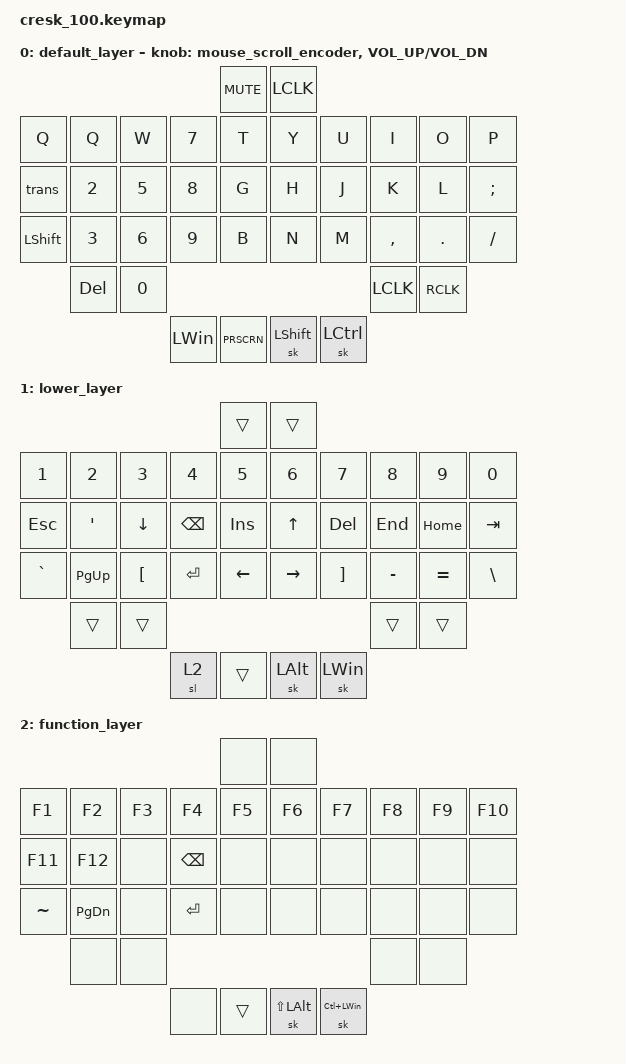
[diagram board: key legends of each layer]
/*
 * Copyright (c) 2022 The ZMK Contributors
 *
 * SPDX-License-Identifier: MIT
 */

#include <behaviors.dtsi>
#include <dt-bindings/zmk/keys.h>
#include <dt-bindings/zmk/mouse.h>

&sk {
	release-after-ms = <600>;
	quick-release;
};

&sl {
	release-after-ms = <600>;
};

/ {
	behaviors {
		mouse_scroll_encoder: mouse_scroll_encoder {
			compatible = "zmk,behavior-sensor-rotate";
			label = "MOUSE_SCROLL_ENCODER";
			#sensor-binding-cells = <0>;
			bindings = <&mwh SCROLL_DOWN>, <&mwh SCROLL_UP>;
		};
	};

	keymap {
		compatible = "zmk,keymap";

		default_layer {
			bindings = <
                                       &kp C_MUTE    &kp LCLK
&kp Q      &kp Q     &kp W    &kp 7    &kp T         &kp Y        &kp U        &kp I     &kp O     &kp P
&kp trans  &kp 2     &kp 5    &kp 8    &kp G         &kp H        &kp J        &kp K     &kp L     &kp SEMI
&kp LSHIFT     &kp 3     &kp 6    &kp 9    &kp B         &kp N        &kp M        &kp COMMA &kp DOT   &kp FSLH
           &kp DEL     &kp 0                                                     &kp LCLK &kp RCLK
                              &kp LWIN    &kp PRSCRN     &sk LSHIFT   &sk LCTRL
			>;

			sensor-bindings = <&mouse_scroll_encoder &inc_dec_kp C_VOL_UP C_VOL_DN>;
		};

		lower_layer {
			bindings = <
                                       &trans        &trans
&kp N1     &kp N2    &kp N3   &kp N4   &kp N5        &kp N6       &kp N7       &kp N8    &kp N9    &kp N0
&kp ESC    &kp SQT   &kp DOWN &kp BSPC &kp INS       &kp UP       &kp DEL      &kp END   &kp HOME  &kp TAB
&kp GRAVE  &kp PG_UP &kp LBKT &kp RET  &kp LEFT      &kp RIGHT    &kp RBKT     &kp MINUS &kp EQUAL &kp BSLH
           &trans    &trans                                                    &trans    &trans
                              &sl 2    &trans        &sk LALT     &sk LWIN
			>;
		};

		function_layer {
			bindings = <
                                       &none         &none
&kp F1     &kp F2    &kp F3   &kp F4   &kp F5        &kp F6       &kp F7       &kp F8    &kp F9    &kp F10
&kp F11    &kp F12   &none    &kp BSPC &none         &none        &none        &none     &none     &none
&kp TILDE  &kp PG_DN &none    &kp RET  &none         &none        &none        &none     &none     &none
           &none     &none                                                     &none     &none
                              &none    &trans        &sk LS(LALT) &sk LC(LWIN)
			>;
		};
	};
};
